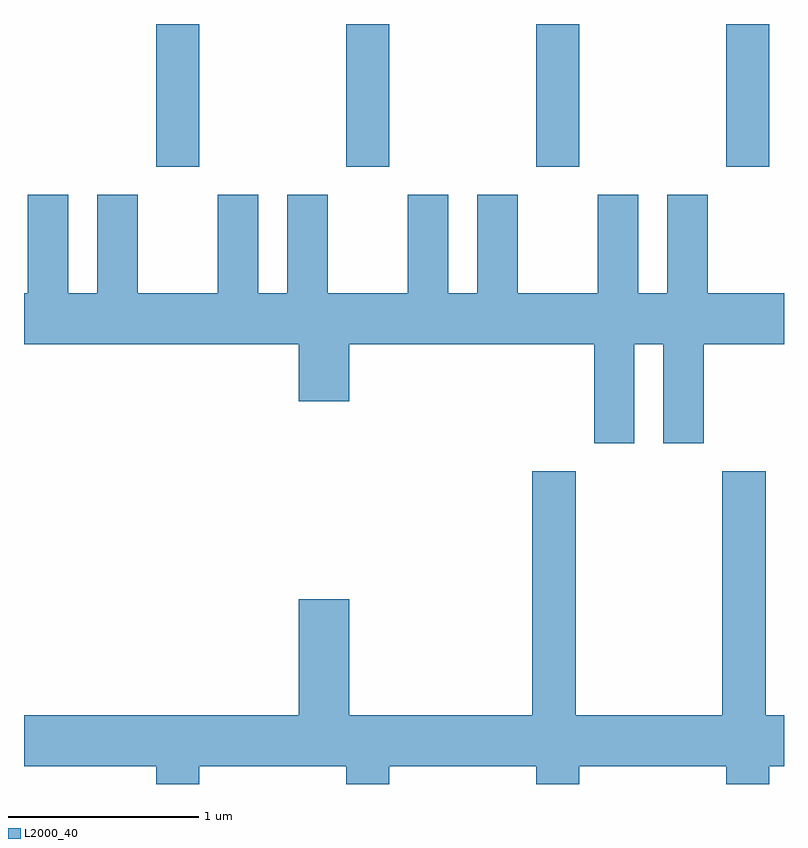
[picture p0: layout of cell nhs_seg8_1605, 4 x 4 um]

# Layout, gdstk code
import gdstk
lib = gdstk.Library(unit=1e-6, precision=1e-09)
def R(c, l, rs):  # rectangles x0, y0, x1, y1
    for r in rs: c.add(gdstk.rectangle(r[:2], r[2:], *l))
def A(c, l, x, y, w, h, nx, ny, dx, dy):  # array of equal rectangles
    R(c, l, [(x+i*dx, y+j*dy, x+i*dx+w, y+j*dy+h) for i in range(nx) for j in range(ny)])
def P(c, l, *ps):  # polygons
    for p in ps: c.add(gdstk.Polygon(p, *l))
L2000_40 = (2000, 40)

nhs_seg8_1605 = lib.new_cell('nhs_seg8_1605')
A(nhs_seg8_1605, L2000_40, 234.306, 1819.591, 0.228, 0.751, 4, 1, 1, 0)
P(nhs_seg8_1605, L2000_40, [(236.824,1818.656),(236.976,1818.656),(236.976,1818.136),(237.189,1818.136),(237.189,1818.656),(237.611,1818.656),(237.611,1818.924),(237.209,1818.924),(237.209,1819.444),(236.996,1819.444),(236.996,1818.924),(236.844,1818.924),(236.844,1819.444),(236.631,1819.444),(236.631,1818.924),(236.209,1818.924),(236.209,1819.444),(235.996,1819.444),(235.996,1818.924),(235.844,1818.924),(235.844,1819.444),(235.631,1819.444),(235.631,1818.924),(235.209,1818.924),(235.209,1819.444),(234.996,1819.444),(234.996,1818.924),(234.844,1818.924),(234.844,1819.444),(234.631,1819.444),(234.631,1818.924),(234.209,1818.924),(234.209,1819.444),(233.996,1819.444),(233.996,1818.924),(233.844,1818.924),(233.844,1819.444),(233.631,1819.444),(233.631,1818.924),(233.611,1818.924),(233.611,1818.656),(235.056,1818.656),(235.056,1818.356),(235.324,1818.356),(235.324,1818.656),(236.611,1818.656),(236.611,1818.136),(236.824,1818.136)],
  [(234.534,1816.436),(235.306,1816.436),(235.306,1816.342),(235.534,1816.342),(235.534,1816.436),(236.306,1816.436),(236.306,1816.342),(236.534,1816.342),(236.534,1816.436),(237.306,1816.436),(237.306,1816.342),(237.534,1816.342),(237.534,1816.436),(237.611,1816.436),(237.611,1816.704),(237.514,1816.704),(237.514,1817.989),(237.286,1817.989),(237.286,1816.704),(236.514,1816.704),(236.514,1817.989),(236.286,1817.989),(236.286,1816.704),(235.324,1816.704),(235.324,1817.314),(235.056,1817.314),(235.056,1816.704),(233.611,1816.704),(233.611,1816.436),(234.306,1816.436),(234.306,1816.342),(234.534,1816.342)])

lib.write_gds('nhs_seg8_1605.gds')
